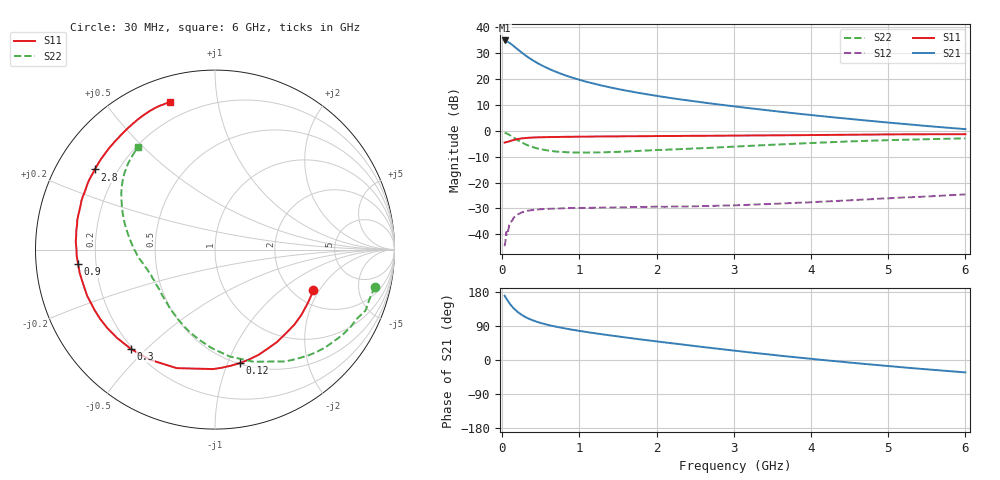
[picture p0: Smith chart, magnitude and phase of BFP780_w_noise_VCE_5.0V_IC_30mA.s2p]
! Infineon Technologies  Discrete & RF Semiconductors
! BFP780
! VCE =  5.0 V,  IC =  30 mA
! Common Emitter S-Parameters:  Jul 2015
# GHz  S  MA  R  50
!  f  S11  S21  S12  S22
! GHz  MAG  ANG  MAG  ANG  MAG  ANG  MAG  ANG
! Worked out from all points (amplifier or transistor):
!   75 points, 30 MHz to 6 GHz, reference 50 ohm
!   highest |S21| = 34.9 dB at 30 MHz (marker M1)
!   |S21| within 3 dB of that: start of sweep to 181.8 MHz
!   unconditionally stable (mu >= 1): 2.134 GHz to end of sweep
!   at 150 MHz: K = 0.17, MSG = 33.1 dB, |S12| = -33.5 dB
!   at 2.3 GHz: K = 1.06, MAG = 19.2 dB, |S12| = -29.3 dB
!   at 6 GHz: K = 1.23, MAG = 9.7 dB, |S12| = -24.6 dB
!   lowest NFmin = 1.09 dB at 450 MHz
!   S11 on the Smith chart (normalised r, x): 30 MHz: 2.54, -1.78; 120 MHz: 0.51, -1.11; 300 MHz: 0.19, -0.45; 900 MHz: 0.13, -0.05; 2.8 GHz: 0.12, +0.30; 6 GHz: 0.12, +0.73
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0.03  0.5939 -22.5  55.74 169.7  0.0059 65.6  0.9151 -13.1
0.05  0.6034 -37.0  54.45 162.9  0.0111 59.3  0.9048 -22.1
0.08  0.6198 -56.0  51.61 153.6  0.0125 58.7  0.8547 -33.8
0.1  0.6347 -67.5  49.25 148.1  0.0155 57.4  0.8217 -41.4
0.12  0.6475 -77.7  46.81 142.8  0.018 52.7  0.787 -48.4
0.15  0.6658 -90.9  43.16 136.0  0.0211 45.8  0.7365 -57.8
0.2  0.694 -107.9  37.49 126.7  0.0242 40.0  0.6594 -71.3
0.25  0.7123 -120.4  32.7 119.2  0.0264 35.6  0.5998 -82.4
0.3  0.7251 -130.2  28.7 113.2  0.0277 30.2  0.5487 -92.0
0.35  0.7348 -137.9  25.46 108.3  0.0289 27.1  0.5106 -99.8
0.4  0.7423 -144.0  22.79 104.3  0.0296 24.7  0.4819 -106.7
0.5  0.7507 -153.3  18.75 97.6  0.0306 21.2  0.4398 -117.7
0.7  0.7594 -165.7  13.7 87.7  0.0314 16.8  0.397 -133.6
0.9  0.7669 -174.0  10.74 80.1  0.0322 15.0  0.3812 -144.3
1.1  0.7718 179.6  8.79 73.6  0.0324 13.7  0.3791 -152.4
1.5  0.7807 169.9  6.417 62.2  0.0333 13.0  0.3922 -163.3
2.1  0.7936 158.2  4.489 46.6  0.034 13.8  0.4298 -174.7
2.8  0.8051 146.3  3.236 29.6  0.0357 16.3  0.4779 173.0
3.1  0.811 141.5  2.853 22.6  0.0367 17.4  0.5033 167.7
4.1  0.8302 127.0  1.949 1.1  0.0425 19.9  0.5897 152.1
5.1  0.8538 115.3  1.401 -17.7  0.0505 18.6  0.6657 138.6
6  0.8595 106.9  1.077 -32.8  0.059 14.9  0.7142 126.8
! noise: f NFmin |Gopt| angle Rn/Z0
0.45  1.09  0.15  163  0.07
0.9  1.14  0.23  176  0.07
1.5  1.22  0.31  -170  0.07
1.8  1.4  0.36  -164  0.07
2.4  1.56  0.42  -151  0.09
3  1.83  0.47  -139  0.13
3.5  2.38  0.51  -127  0.21
